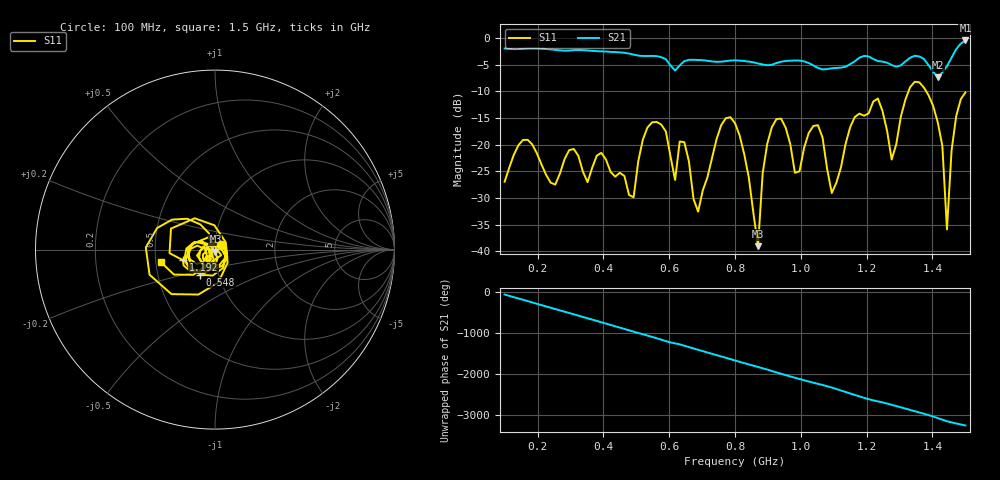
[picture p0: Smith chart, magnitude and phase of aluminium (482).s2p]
! NanoVNA-App
! Date: 2025-09-25 14:59:02
! Start: 100MHz Stop: 1,5GHz Points: 101
! S-Parameter data: F S11 S21 S12 S22
# Hz S RI R 50
!  Frequency  S11_Real  S11_Imag  S21_Real  S21_Imag  S12_Real  S12_Imag  S22_Real  S22_Imag
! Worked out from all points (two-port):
!   101 points, 100 MHz to 1.5 GHz, reference 50 ohm
!   highest |S21| = -0.41 dB at 1.5 GHz (marker M1); lowest = -7.3 dB at 1.416 GHz (marker M2)
!   |S21| within 3 dB of the highest: start of sweep to 565.9 MHz; 1.46 GHz to end of sweep (the widest 2 of 4)
!   lowest |S11| = -39.1 dB at 870 MHz (marker M3), VSWR 1.02, Z = 50.2 - j1.09 ohm
!   |S11| at or under -10 dB: start of sweep to 1.327 GHz; 1.381 GHz to end of sweep
!   S12 and S22 are empty: the file has one direction only
!   S11 on the Smith chart (normalised r, x): 100 MHz: 1.07, +0.06; 548 MHz: 0.82, -0.23; 1.192 GHz: 0.69, -0.08; 1.5 GHz: 0.53, -0.08
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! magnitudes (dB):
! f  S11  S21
! 100 MHz  -27.0  -1.9
! 156 MHz  -19.1  -2.0
! 338 MHz  -25.1  -2.2
! 492 MHz  -29.9  -3.1
! 548 MHz  -15.8  -3.3
! 576 MHz  -16.2  -3.5
! 646 MHz  -19.5  -4.3
! 688 MHz  -32.6  -4.1
! 800 MHz  -16.0  -4.1
! 870 MHz  -39.1  -4.7
! 912 MHz  -16.7  -5.0
! 982 MHz  -25.3  -4.2
! 1.038 GHz  -16.5  -5.1
! 1.094 GHz  -29.1  -5.6
! 1.192 GHz  -14.6  -3.3
! 1.234 GHz  -11.3  -4.3
! 1.276 GHz  -22.8  -5.0
! 1.346 GHz  -8.2  -3.3
! 1.416 GHz  -15.8  -7.3
! 1.444 GHz  -35.9  -5.2
! 1.472 GHz  -14.6  -2.0
! 1.5 GHz  -10.2  -0.4
